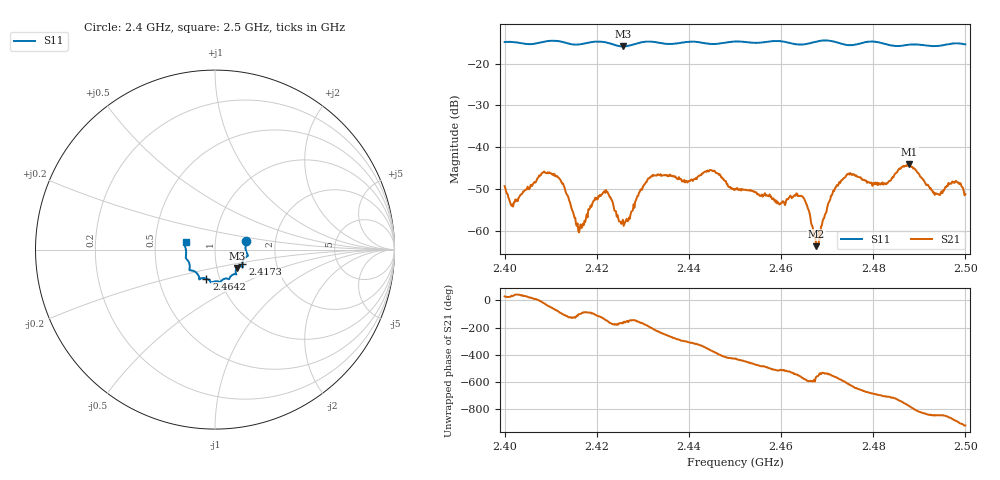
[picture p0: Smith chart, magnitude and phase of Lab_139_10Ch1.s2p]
# Hz S RI R 50
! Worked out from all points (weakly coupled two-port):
!   601 points, 2.4 GHz to 2.5 GHz, reference 50 ohm
!   highest |S21| = -44.02 dB at 2.4878 GHz (marker M1); lowest = -63.5 dB at 2.4677 GHz (marker M2)
!   lowest |S11| = -15.9 dB at 2.4257 GHz (marker M3), VSWR 1.38, Z = 62.4 - j13.1 ohm
!   |S11| at or under -10 dB: start of sweep to end of sweep
!   S12 and S22 are empty: the file has one direction only
!   S11 on the Smith chart (normalised r, x): 2.4 GHz: 1.41, +0.14; 2.4173 GHz: 1.34, -0.23; 2.4642 GHz: 0.86, -0.29; 2.5 GHz: 0.72, +0.06
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2.4e9  0.1733 0.0497  0.003 0.00172  0 0  0 0
2.401667e9  0.1754 0.0432  0.00175 0.00113  0 0  0 0
2.410333e9  0.1837 -0.0331  0.00273 -0.0039  0 0  0 0
2.416667e9  0.1529 -0.0748  -0.000132 -0.00109  0 0  0 0
2.417333e9  0.1523 -0.0823  5.41e-05 -0.00134  0 0  0 0
2.421833e9  0.1523 -0.0946  -0.00227 -0.00176  0 0  0 0
2.425667e9  0.1227 -0.1024  -0.0013 -0.000438  0 0  0 0
2.430833e9  0.1192 -0.138  -0.00388 0.000164  0 0  0 0
2.433333e9  0.1128 -0.1367  -0.00313 0.00362  0 0  0 0
2.445e9  0.0554 -0.1617  0.00523 -0.00103  0 0  0 0
2.45e9  0.0297 -0.1808  0.00117 -0.003  0 0  0 0
2.459667e9  -0.023 -0.1836  -0.00188 -0.000911  0 0  0 0
2.464167e9  -0.0482 -0.1612  -0.00251 0.000901  0 0  0 0
2.466667e9  -0.0763 -0.1597  -0.000703 0.000957  0 0  0 0
2.467667e9  -0.0832 -0.1627  -0.000623 0.000236  0 0  0 0
2.471333e9  -0.087 -0.1612  -0.00294 0.000855  0 0  0 0
2.474167e9  -0.099 -0.1343  -0.00182 0.00426  0 0  0 0
2.483333e9  -0.1408 -0.0894  0.00386 0.000733  0 0  0 0
2.487833e9  -0.1597 -0.0517  0.00339 -0.00531  0 0  0 0
2.4935e9  -0.161 -0.00771  -0.00162 -0.00235  0 0  0 0
2.497667e9  -0.1711 0.0301  -0.00359 -0.00122  0 0  0 0
2.5e9  -0.1637 0.0422  -0.0026 0.000956  0 0  0 0
